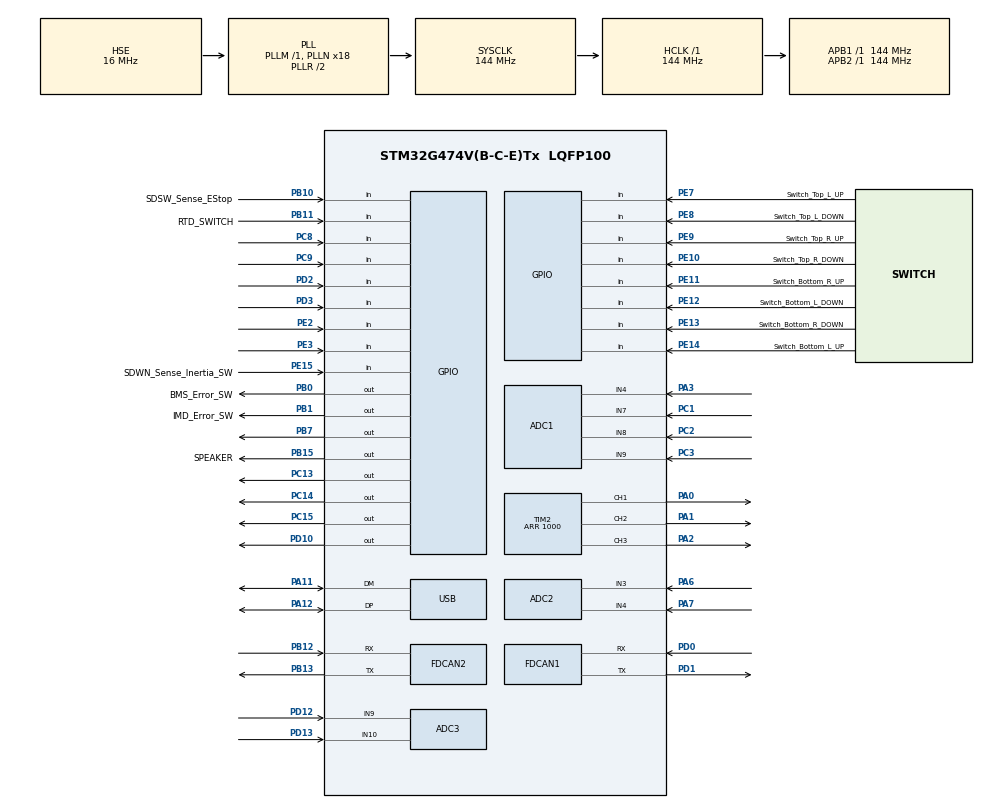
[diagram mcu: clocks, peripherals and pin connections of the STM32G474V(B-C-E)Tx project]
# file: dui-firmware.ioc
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ADC1.Channel-1\#ChannelRegularConversion=ADC_CHANNEL_4
ADC1.ContinuousConvMode=ENABLE
ADC1.DMAContinuousRequests=DISABLE
ADC1.NbrOfConversionFlag=1
ADC1.OffsetNumber-1\#ChannelRegularConversion=ADC_OFFSET_NONE
ADC1.Rank-1\#ChannelRegularConversion=1
ADC1.SamplingTime-1\#ChannelRegularConversion=ADC_SAMPLETIME_2CYCLES_5
ADC1.master=1
ADC2.Channel-0\#ChannelRegularConversion=ADC_CHANNEL_3
ADC2.NbrOfConversionFlag=1
ADC2.OffsetNumber-0\#ChannelRegularConversion=ADC_OFFSET_NONE
ADC2.Rank-0\#ChannelRegularConversion=1
ADC2.SamplingTime-0\#ChannelRegularConversion=ADC_SAMPLETIME_2CYCLES_5
ADC2.SingleDiff-0\#ChannelRegularConversion=ADC_DIFFERENTIAL_ENDED
ADC3.Channel-0\#ChannelRegularConversion=ADC_CHANNEL_9
ADC3.NbrOfConversionFlag=1
ADC3.OffsetNumber-0\#ChannelRegularConversion=ADC_OFFSET_NONE
ADC3.Rank-0\#ChannelRegularConversion=1
ADC3.SamplingTime-0\#ChannelRegularConversion=ADC_SAMPLETIME_2CYCLES_5
ADC3.SingleDiff-0\#ChannelRegularConversion=ADC_DIFFERENTIAL_ENDED
ADC3.master=1
Dma.ADC1.0.Direction=DMA_PERIPH_TO_MEMORY
Dma.ADC1.0.EventEnable=DISABLE
Dma.ADC1.0.Instance=DMA1_Channel1
Dma.ADC1.0.MemDataAlignment=DMA_MDATAALIGN_HALFWORD
Dma.ADC1.0.MemInc=DMA_MINC_ENABLE
Dma.ADC1.0.Mode=DMA_NORMAL
Dma.ADC1.0.PeriphDataAlignment=DMA_PDATAALIGN_HALFWORD
Dma.ADC1.0.PeriphInc=DMA_PINC_DISABLE
Dma.ADC1.0.Polarity=HAL_DMAMUX_REQ_GEN_RISING
Dma.ADC1.0.Priority=DMA_PRIORITY_MEDIUM
Dma.ADC1.0.RequestNumber=1
Dma.ADC1.0.SignalID=NONE
Dma.ADC1.0.SyncEnable=DISABLE
Dma.ADC1.0.SyncPolarity=HAL_DMAMUX_SYNC_NO_EVENT
Dma.ADC1.0.SyncRequestNumber=1
Dma.ADC1.0.SyncSignalID=NONE
Dma.Request0=ADC1
FDCAN1.AutoRetransmission=ENABLE
FDCAN1.CalculateBaudRateNominal=1000000
FDCAN1.CalculateTimeBitNominal=1000
FDCAN1.CalculateTimeQuantumNominal=125.0
FDCAN1.NominalPrescaler=6
FDCAN1.NominalTimeSeg1=5
FDCAN1.NominalTimeSeg2=2
FDCAN2.CalculateBaudRateNominal=1000000
FDCAN2.CalculateTimeBitNominal=1000
FDCAN2.CalculateTimeQuantumNominal=125.0
FDCAN2.NominalPrescaler=6
FDCAN2.NominalTimeSeg1=5
FDCAN2.NominalTimeSeg2=2
FREERTOS.Tasks01=defaultTask,24,1024,StartDefaultTask,Default,NULL,Dynamic,NULL,NULL
FREERTOS.configTOTAL_HEAP_SIZE=32768
Mcu.Family=STM32G4
Mcu.Name=STM32G474V(B-C-E)Tx
Mcu.Package=LQFP100
NVIC.DMA1_Channel1_IRQn=true\:5\:0\:false\:false\:true\:true\:false\:true\:true
NVIC.FDCAN1_IT0_IRQn=true\:5\:0\:false\:false\:true\:true\:true\:true\:true
NVIC.PriorityGroup=NVIC_PRIORITYGROUP_4
NVIC.TIM20_UP_IRQn=true\:15\:0\:false\:false\:true\:false\:false\:true\:true
NVIC.TIM3_IRQn=true\:5\:0\:false\:false\:true\:true\:true\:true\:true
NVIC.TimeBase=TIM20_UP_IRQn
NVIC.TimeBaseIP=TIM20
NVIC.USB_LP_IRQn=true\:5\:0\:false\:false\:true\:true\:false\:true\:true
PA0.Signal=S_TIM2_CH1
PA1.Signal=S_TIM2_CH2
PA11.Mode=Device
PA11.Signal=USB_DM
PA12.Mode=Device
PA12.Signal=USB_DP
PA13.Mode=Trace_Asynchronous_SW
PA13.Signal=SYS_JTMS-SWDIO
PA14.Mode=Trace_Asynchronous_SW
PA14.Signal=SYS_JTCK-SWCLK
PA2.Signal=S_TIM2_CH3
PA3.Mode=IN4-Single-Ended
PA3.Signal=ADC1_IN4
PA6.Mode=IN3-Differential
PA6.Signal=ADC2_IN3
PA7.Mode=IN3-Differential
PA7.Signal=ADC2_IN4
PB0.GPIO_Label=BMS_Error_SW
PB0.Signal=GPIO_Output
PB1.GPIO_Label=IMD_Error_SW
PB1.Signal=GPIO_Output
PB10.GPIO_Label=SDSW_Sense_EStop
PB10.Signal=GPIO_Input
PB11.GPIO_Label=RTD_SWITCH
PB11.GPIO_PuPd=GPIO_PULLDOWN
PB11.Signal=GPIO_Input
PB12.Mode=FDCAN_Activate
PB12.Signal=FDCAN2_RX
PB13.Mode=FDCAN_Activate
PB13.Signal=FDCAN2_TX
PB15.GPIO_Label=SPEAKER
PB15.GPIO_Speed=GPIO_SPEED_FREQ_VERY_HIGH
PB15.Signal=GPIO_Output
PB3.Mode=Trace_Asynchronous_SW
PB3.Signal=SYS_JTDO-SWO
PB7.Signal=GPIO_Output
PC1.Mode=IN7-Single-Ended
PC1.Signal=ADC1_IN7
PC13.Signal=GPIO_Output
PC14-OSC32_IN.Signal=GPIO_Output
PC15-OSC32_OUT.Signal=GPIO_Output
PC2.Mode=IN8-Differential
PC2.Signal=ADC1_IN8
PC3.Mode=IN8-Differential
PC3.Signal=ADC1_IN9
PC8.Signal=GPIO_Input
PC9.Signal=GPIO_Input
PD0.Mode=FDCAN_Activate
PD0.Signal=FDCAN1_RX
PD1.Mode=FDCAN_Activate
PD1.Signal=FDCAN1_TX
PD10.Signal=GPIO_Output
PD12.Mode=IN9-Differential
PD12.Signal=ADC3_IN9
PD13.Mode=IN9-Differential
PD13.Signal=ADC3_IN10
PD2.Signal=GPIO_Input
PD3.Signal=GPIO_Input
PE10.GPIO_Label=Switch_Top_R_DOWN
PE10.Signal=GPIO_Input
PE11.GPIO_Label=Switch_Bottom_R_UP
PE11.Signal=GPIO_Input
PE12.GPIO_Label=Switch_Bottom_L_DOWN
PE12.Signal=GPIO_Input
PE13.GPIO_Label=Switch_Bottom_R_DOWN
PE13.Signal=GPIO_Input
PE14.GPIO_Label=Switch_Bottom_L_UP
PE14.Signal=GPIO_Input
PE15.GPIO_Label=SDWN_Sense_Inertia_SW
PE15.Signal=GPIO_Input
PE2.Signal=GPIO_Input
PE3.Signal=GPIO_Input
PE7.GPIO_Label=Switch_Top_L_UP
PE7.Signal=GPIO_Input
PE8.GPIO_Label=Switch_Top_L_DOWN
PE8.Signal=GPIO_Input
PE9.GPIO_Label=Switch_Top_R_UP
PE9.Signal=GPIO_Input
PF0-OSC_IN.Mode=HSE-External-Oscillator
PF0-OSC_IN.Signal=RCC_OSC_IN
PF1-OSC_OUT.Mode=HSE-External-Oscillator
PF1-OSC_OUT.Signal=RCC_OSC_OUT
ProjectManager.HeapSize=0x200
ProjectManager.StackSize=0x400
ProjectManager.TargetToolchain=Makefile
RCC.ADC12Freq_Value=144000000
RCC.ADC345Freq_Value=144000000
RCC.AHBFreq_Value=144000000
RCC.APB1Freq_Value=144000000
RCC.APB1TimFreq_Value=144000000
RCC.APB2Freq_Value=144000000
RCC.APB2TimFreq_Value=144000000
RCC.CortexFreq_Value=144000000
RCC.EXTERNAL_CLOCK_VALUE=12288000
RCC.FDCANCLockSelection=RCC_FDCANCLKSOURCE_PLL
RCC.HCLKFreq_Value=144000000
RCC.HSE_VALUE=16000000
RCC.HSI48_VALUE=48000000
RCC.HSI_VALUE=16000000
RCC.LSE_VALUE=32768
RCC.PLLN=18
RCC.PLLQ=RCC_PLLQ_DIV6
RCC.PLLSourceVirtual=RCC_PLLSOURCE_HSE
RCC.SYSCLKFreq_VALUE=144000000
RCC.SYSCLKSource=RCC_SYSCLKSOURCE_PLLCLK
RCC.USBFreq_Value=48000000
RCC.VCOOutputFreq_Value=288000000
SH.S_TIM2_CH1.0=TIM2_CH1,PWM Generation1 CH1
SH.S_TIM2_CH2.0=TIM2_CH2,PWM Generation2 CH2
SH.S_TIM2_CH3.0=TIM2_CH3,PWM Generation3 CH3
TIM2.Channel-PWM\ Generation1\ CH1=TIM_CHANNEL_1
TIM2.Channel-PWM\ Generation2\ CH2=TIM_CHANNEL_2
TIM2.Channel-PWM\ Generation3\ CH3=TIM_CHANNEL_3
TIM2.Dithering=Disable
TIM2.OCFastMode_PWM-PWM\ Generation1\ CH1=TIM_OCFAST_ENABLE
TIM2.OCFastMode_PWM-PWM\ Generation2\ CH2=TIM_OCFAST_ENABLE
TIM2.OCFastMode_PWM-PWM\ Generation3\ CH3=TIM_OCFAST_ENABLE
TIM2.OCPolarity_1=TIM_OCPOLARITY_LOW
TIM2.OCPolarity_2=TIM_OCPOLARITY_LOW
TIM2.OCPolarity_3=TIM_OCPOLARITY_LOW
TIM2.PeriodNoDither=1000
TIM3.PeriodNoDither=500
TIM3.Prescaler=144
USB_DEVICE.CLASS_NAME_FS=CDC
USB_DEVICE.VirtualMode=Cdc
USB_DEVICE.VirtualModeFS=Cdc_FS
VP_FREERTOS_VS_CMSIS_V2.Mode=CMSIS_V2
VP_SYS_VS_DBSignals.Mode=DisableDeadBatterySignals
VP_SYS_VS_tim20.Mode=TIM20
VP_TIM3_VS_ClockSourceINT.Mode=Internal
VP_USB_DEVICE_VS_USB_DEVICE_CDC_FS.Mode=CDC_FS
board=custom

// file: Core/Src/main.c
/* USER CODE BEGIN Header */
/**
 ******************************************************************************
 * @file           : main.c
 * @brief          : Main program body
 ******************************************************************************
 * @attention
 *
 * Copyright (c) 2025 STMicroelectronics.
 * All rights reserved.
 *
 * This software is licensed under terms that can be found in the LICENSE file
 * in the root directory of this software component.
 * If no LICENSE file comes with this software, it is provided AS-IS.
 *
 ******************************************************************************
 */
/* USER CODE END Header */
#include "main.h"
#include "cmsis_os.h"
#include "adc.h"
#include "dma.h"
#include "fdcan.h"
#include "tim.h"
#include "usb_device.h"
#include "gpio.h"

/* USER CODE BEGIN Includes */
#include "buzzer.h"
/* USER CODE END Includes */

void SystemClock_Config(void);
void MX_FREERTOS_Init(void);

int main(void)
{

  /* MCU Configuration--------------------------------------------------------*/

  /* Reset of all peripherals, Initializes the Flash interface and the Systick. */
  HAL_Init();

  /* Configure the system clock */
  SystemClock_Config();

  /* Initialize all configured peripherals */
  MX_GPIO_Init();
  MX_DMA_Init();
  MX_ADC1_Init();
  MX_ADC2_Init();
  MX_ADC3_Init();
  MX_FDCAN1_Init();
  MX_FDCAN2_Init();
  MX_TIM2_Init();
  MX_TIM3_Init();

  /* Init scheduler */
  osKernelInitialize();

  /* Call init function for freertos objects (in cmsis_os2.c) */
  MX_FREERTOS_Init();

  /* Start scheduler */
  osKernelStart();

  /* We should never get here as control is now taken by the scheduler */

  /* Infinite loop */
    while (1) {

    }
}

void SystemClock_Config(void)
{
  RCC_OscInitTypeDef RCC_OscInitStruct = {0};
  RCC_ClkInitTypeDef RCC_ClkInitStruct = {0};

  /** Configure the main internal regulator output voltage
  */
  HAL_PWREx_ControlVoltageScaling(PWR_REGULATOR_VOLTAGE_SCALE1);

  /** Initializes the RCC Oscillators according to the specified parameters
  * in the RCC_OscInitTypeDef structure.
  */
  RCC_OscInitStruct.OscillatorType = RCC_OSCILLATORTYPE_HSE;
  RCC_OscInitStruct.HSEState = RCC_HSE_ON;
  RCC_OscInitStruct.PLL.PLLState = RCC_PLL_ON;
  RCC_OscInitStruct.PLL.PLLSource = RCC_PLLSOURCE_HSE;
  RCC_OscInitStruct.PLL.PLLM = RCC_PLLM_DIV1;
  RCC_OscInitStruct.PLL.PLLN = 18;
  RCC_OscInitStruct.PLL.PLLP = RCC_PLLP_DIV2;
  RCC_OscInitStruct.PLL.PLLQ = RCC_PLLQ_DIV6;
  RCC_OscInitStruct.PLL.PLLR = RCC_PLLR_DIV2;
  if (HAL_RCC_OscConfig(&RCC_OscInitStruct) != HAL_OK)
  {
    Error_Handler();
  }

  /** Initializes the CPU, AHB and APB buses clocks
  */
  RCC_ClkInitStruct.ClockType = RCC_CLOCKTYPE_HCLK|RCC_CLOCKTYPE_SYSCLK
                              |RCC_CLOCKTYPE_PCLK1|RCC_CLOCKTYPE_PCLK2;
  RCC_ClkInitStruct.SYSCLKSource = RCC_SYSCLKSOURCE_PLLCLK;
  RCC_ClkInitStruct.AHBCLKDivider = RCC_SYSCLK_DIV1;
  RCC_ClkInitStruct.APB1CLKDivider = RCC_HCLK_DIV1;
  RCC_ClkInitStruct.APB2CLKDivider = RCC_HCLK_DIV1;

  if (HAL_RCC_ClockConfig(&RCC_ClkInitStruct, FLASH_LATENCY_4) != HAL_OK)
  {
    Error_Handler();
  }
}

void HAL_TIM_PeriodElapsedCallback(TIM_HandleTypeDef *htim)
{
  if (htim->Instance == TIM20) {
    HAL_IncTick();
  }
  /* USER CODE BEGIN Callback 1 */
  if (htim->Instance == TIM3) {
    dui_buzzer_tick();
  }
  /* USER CODE END Callback 1 */
}

void Error_Handler(void)
{
  /* USER CODE BEGIN Error_Handler_Debug */
    /* User can add his own implementation to report the HAL error return state
     */
    __disable_irq();
    while (1) {
        // HAL_TIM_PWM_DeInit(&htim2);
        // HAL_GPIO_TogglePin(GPIOA, GPIO_PIN_0);
    }
  /* USER CODE END Error_Handler_Debug */
}

#ifdef  USE_FULL_ASSERT
/**
  * @brief  Reports the name of the source file and the source line number
  *         where the assert_param error has occurred.
  * @param  file: pointer to the source file name
  * @param  line: assert_param error line source number
  * @retval None
  */
void assert_failed(uint8_t *file, uint32_t line)
{
  /* USER CODE BEGIN 6 */
    /* User can add his own implementation to report the file name and line
       number, ex: printf("Wrong parameters value: file %s on line %d\r\n",
       file, line) */
  /* USER CODE END 6 */
}
#endif /* USE_FULL_ASSERT */

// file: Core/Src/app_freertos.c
/* USER CODE BEGIN Header */
/**
 ******************************************************************************
 * File Name          : app_freertos.c
 * Description        : Code for freertos applications
 ******************************************************************************
 * @attention
 *
 * Copyright (c) 2025 STMicroelectronics.
 * All rights reserved.
 *
 * This software is licensed under terms that can be found in the LICENSE file
 * in the root directory of this software component.
 * If no LICENSE file comes with this software, it is provided AS-IS.
 *
 ******************************************************************************
 */
/* USER CODE END Header */

#include "FreeRTOS.h"
#include "task.h"
#include "main.h"
#include "cmsis_os.h"

/* USER CODE BEGIN Includes */
#include "adc.h"
#include "fdcan.h"
#include "longhorn/rtos/dfu.h"
#include "longhorn/rtos/led.h"
#include "longhorn/rtos/logger.h"
#include "longhorn/rtos/usb.h"
#include "longhorn/usb_base.h"
#include "tim.h"
#include "usb_device.h"
#include "usbd_cdc_if.h"
#include "ota/ota_flash.h"

#include <buzzer.h>
#include "cmsis_os2.h"
#include <dui_can.h>
#include <indicator_lights.h>
#include <r2d.h>
#include <shutdown_sense_sniff.h>
#include <steering_switches.h>
/* USER CODE END Includes */

/* USER CODE BEGIN Variables */
static dfu_config dfu_conf = {
    .delay_fn = (Delay_fn)osDelay,
    .gpiox = GPIOB,
    .pin = GPIO_PIN_7,
    .pin_set_fn = (PinSet_fn)HAL_GPIO_WritePin,
    .reset_fn = HAL_NVIC_SystemReset,
    .set_bank1_fn = (SetBank1_fn)ota_set_bank1,
};

static rainbow_led_t led_conf = {
    .ccr2 = &TIM2->CCR1,
    .ccr1 = &TIM2->CCR2,
    .ccr3 = &TIM2->CCR3,
    .channel1 = TIM_CHANNEL_1,
    .channel2 = TIM_CHANNEL_2,
    .channel3 = TIM_CHANNEL_3,
    .pwm_start = (HAL_PWM_Start_Fn)HAL_TIM_PWM_Start,
    .timer_handle = &htim2,
};

/* USER CODE END Variables */
/* Definitions for defaultTask */
osThreadId_t defaultTaskHandle;
const osThreadAttr_t defaultTask_attributes = {
  .name = "defaultTask",
  .priority = (osPriority_t) osPriorityNormal,
  .stack_size = 1024 * 4
};

/* USER CODE BEGIN FunctionPrototypes */
osThreadId_t led_handle;

/* USER CODE END FunctionPrototypes */

void StartDefaultTask(void *argument);

void MX_FREERTOS_Init(void); /* (MISRA C 2004 rule 8.1) */

void MX_FREERTOS_Init(void) {

  /* Create the thread(s) */
  /* creation of defaultTask */
  defaultTaskHandle = osThreadNew(StartDefaultTask, NULL, &defaultTask_attributes);

  /* USER CODE BEGIN RTOS_THREADS */
  /* add threads, ... */

  led_init(&led_conf);
  led_handle = led_start_thread();

  /* USER CODE END RTOS_THREADS */

}

void StartDefaultTask(void *argument)
{
  /* init code for USB_Device */
  MX_USB_Device_Init();
  /* USER CODE BEGIN StartDefaultTask */

  if (init_logging(CDC_Transmit_FS) == -1) {
    osThreadTerminate(led_handle);
  }

  init_dfu(dfu_conf);
  dfu_start_thread();

  dui_r2d_init();

  dui_can_init();

  dui_indicator_lights_init();

  dui_shutdown_sense_sniff_init();

  dui_steering_switches_init();

  dui_buzzer_init();

  /* Infinite loop */
  for (;;) {
    osDelay(1000);
  }
  /* USER CODE END StartDefaultTask */
}
